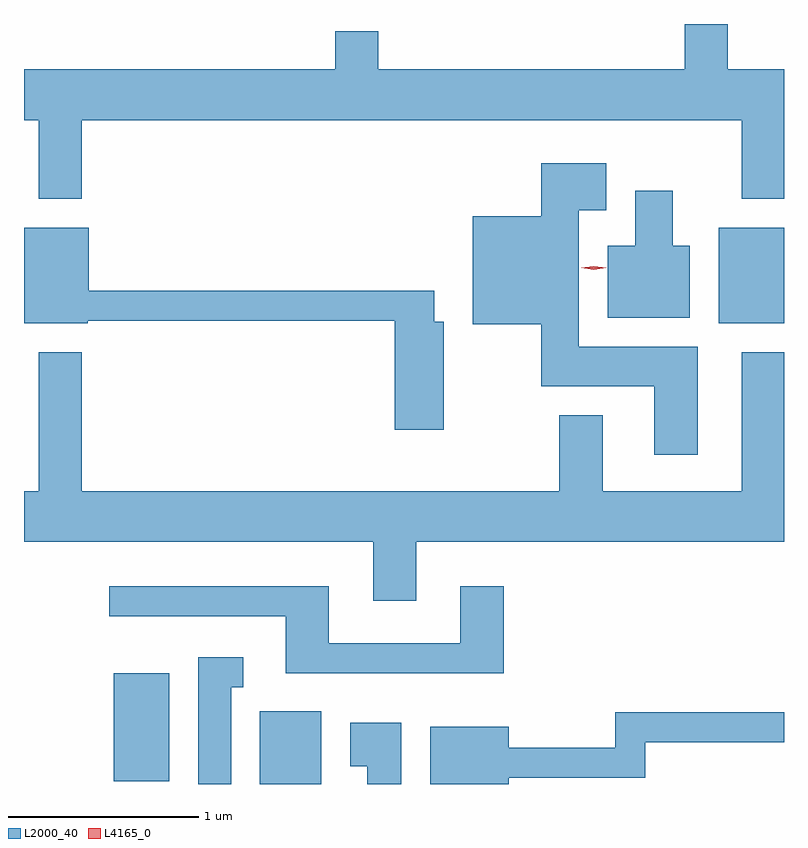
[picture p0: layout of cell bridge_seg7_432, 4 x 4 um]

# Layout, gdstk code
import gdstk
lib = gdstk.Library(unit=1e-6, precision=1e-09)
def R(c, l, rs):  # rectangles x0, y0, x1, y1
    for r in rs: c.add(gdstk.rectangle(r[:2], r[2:], *l))
def P(c, l, *ps):  # polygons
    for p in ps: c.add(gdstk.Polygon(p, *l))
L2000_40 = (2000, 40)
L4165_0 = (4165, 0)

bridge_seg7_432 = lib.new_cell('bridge_seg7_432')
R(bridge_seg7_432, L2000_40, [(1229.466,1668.642,1229.789,1669.024), (1228.696,1668.656,1228.989,1669.224), (1231.881,1671.066,1232.224,1671.569)])
P(bridge_seg7_432, L2000_40, [(1228.529,1672.136),(1232.001,1672.136),(1232.001,1671.721),(1232.224,1671.721),(1232.224,1672.404),(1231.929,1672.404),(1231.929,1672.642),(1231.701,1672.642),(1231.701,1672.404),(1230.089,1672.404),(1230.089,1672.604),(1229.861,1672.604),(1229.861,1672.404),(1228.224,1672.404),(1228.224,1672.136),(1228.301,1672.136),(1228.301,1671.721),(1228.529,1671.721)],
  [(1231.769,1670.944),(1231.144,1670.944),(1231.144,1671.661),(1231.289,1671.661),(1231.289,1671.909),(1230.946,1671.909),(1230.946,1671.629),(1230.586,1671.629),(1230.586,1671.061),(1230.946,1671.061),(1230.946,1670.736),(1231.541,1670.736),(1231.541,1670.376),(1231.769,1670.376)],
  [(1231.729,1671.474),(1231.639,1671.474),(1231.639,1671.764),(1231.441,1671.764),(1231.441,1671.474),(1231.296,1671.474),(1231.296,1671.096),(1231.729,1671.096)],
  [(1230.434,1671.074),(1230.384,1671.074),(1230.384,1671.239),(1228.564,1671.239),(1228.564,1671.569),(1228.224,1671.569),(1228.224,1671.066),(1228.56,1671.066),(1228.56,1671.081),(1230.176,1671.081),(1230.176,1670.506),(1230.434,1670.506)],
  [(1230.289,1669.916),(1232.224,1669.916),(1232.224,1670.914),(1232.001,1670.914),(1232.001,1670.184),(1231.269,1670.184),(1231.269,1670.584),(1231.041,1670.584),(1231.041,1670.184),(1228.529,1670.184),(1228.529,1670.914),(1228.301,1670.914),(1228.301,1670.184),(1228.224,1670.184),(1228.224,1669.916),(1230.061,1669.916),(1230.061,1669.606),(1230.289,1669.606)],
  [(1230.749,1669.684),(1230.521,1669.684),(1230.521,1669.384),(1229.829,1669.384),(1229.829,1669.684),(1228.673,1669.684),(1228.673,1669.526),(1229.601,1669.526),(1229.601,1669.226),(1230.749,1669.226)],
  [(1229.314,1669.151),(1229.378,1669.151),(1229.378,1669.309),(1229.141,1669.309),(1229.141,1668.642),(1229.314,1668.642)],
  [(1230.774,1668.676),(1231.494,1668.676),(1231.494,1668.861),(1232.224,1668.861),(1232.224,1669.019),(1231.336,1669.019),(1231.336,1668.834),(1230.774,1668.834),(1230.774,1668.944),(1230.361,1668.944),(1230.361,1668.642),(1230.774,1668.642)],
  [(1230.209,1668.964),(1229.941,1668.964),(1229.941,1668.736),(1230.031,1668.736),(1230.031,1668.642),(1230.209,1668.642)])
P(bridge_seg7_432, L4165_0, [(1231.222,1671.348),(1231.156,1671.358),(1231.156,1671.358),(1231.156,1671.359),(1231.222,1671.368),(1231.288,1671.359),(1231.288,1671.358),(1231.288,1671.358)])

lib.write_gds('bridge_seg7_432.gds')
